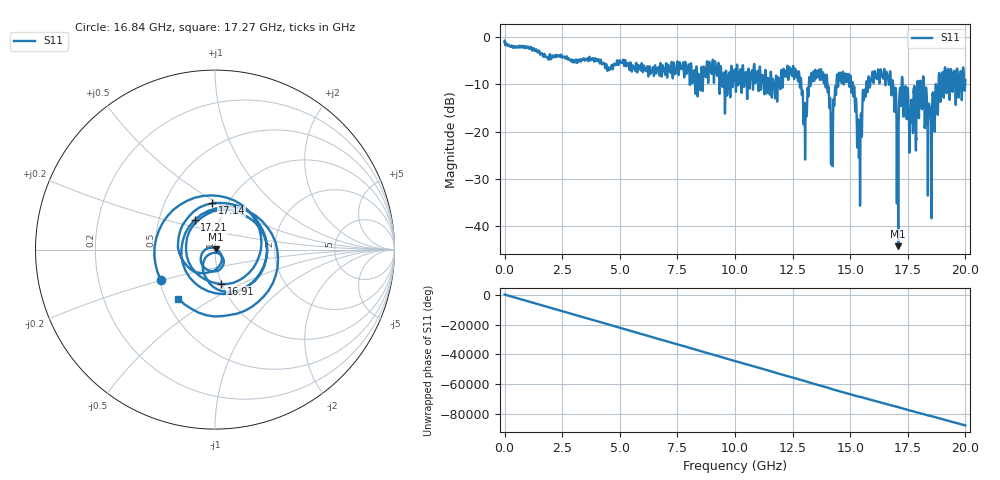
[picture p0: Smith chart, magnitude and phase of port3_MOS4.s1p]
! MS46122B
! 2250307/22442219
! 6/20/2025 7:50:41 AM
! C:\USERS\SPARKY\DOCUMENTS\VNA_DATA\JUNE20_2025\3.0K\PORT3_MOS4.S1P
! CHANNEL.1
! TR.MEASUREMENT
! RAW.DATA
# GHZ S RI R 50.0
! FREQ.GHZ  S11RE  S11IM
!; PortSelection: Port_1
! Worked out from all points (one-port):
!   10001 points, 1 MHz to 20 GHz, reference 50 ohm
!   lowest |S11| = -44.3 dB at 17.08 GHz (marker M1), VSWR 1.01, Z = 50.5 + j0.31 ohm
!   |S11| at or under -10 dB: 15.1 GHz to 15.7 GHz (593.4 MHz wide, 3.85 % of centre); 17.28 GHz to 17.91 GHz (635.8 MHz wide, 3.61 % of centre); 18.2 GHz to 18.72 GHz (516.8 MHz wide, 2.8 % of centre) (the widest 3 of 60)
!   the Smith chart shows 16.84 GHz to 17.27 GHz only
!   S11 on the Smith chart (normalised r, x): 16.84 GHz: 0.51, -0.19; 16.91 GHz: 0.99, -0.39; 17.14 GHz: 0.85, +0.47; 17.21 GHz: 0.76, +0.26; 17.27 GHz: 0.58, -0.36
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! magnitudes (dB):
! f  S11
! 1 MHz  -1.0
! 2.501 GHz  -4.4
! 5.001 GHz  -4.9
! 7.501 GHz  -5.1
! 10 GHz  -7.0
! 12.5 GHz  -6.9
! 12.78 GHz  -7.5
! 13.04 GHz  -23.6
! 13.31 GHz  -7.6
! 13.81 GHz  -7.4
! 14.18 GHz  -19.1
! 14.51 GHz  -7.9
! 15 GHz  -8.4
! 15.38 GHz  -24.7
! 15.63 GHz  -11.1
! 15.88 GHz  -9.5
! 16.84 GHz  -9.2
! 16.91 GHz  -14.2
! 17 GHz  -13.6
! 17.08 GHz  -44.3
! 17.14 GHz  -11.8
! 17.21 GHz  -14.0
! 17.27 GHz  -9.3
! 17.5 GHz  -11.3
! 18.11 GHz  -15.3
! 18.45 GHz  -14.8
! 19.05 GHz  -12.6
! 20 GHz  -9.1
